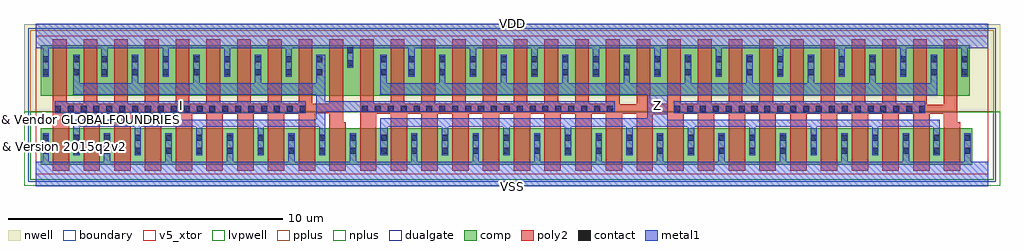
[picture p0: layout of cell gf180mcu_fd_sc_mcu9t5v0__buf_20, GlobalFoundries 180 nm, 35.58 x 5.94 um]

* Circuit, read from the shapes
.subckt gf180mcu_fd_sc_mcu9t5v0__buf_20 I VDD VSS Z
XM1 n1 I VSS VSUBS nfet_05v0 w=1.32u l=0.6u m=10
XM2 Z n1 VSS VSUBS nfet_05v0 w=1.32u l=0.6u m=20
XM3 n1 I VDD n2 pfet_05v0 w=1.83u l=0.5u m=10
XM4 Z n1 VDD n2 pfet_05v0 w=1.83u l=0.5u m=20
.ends

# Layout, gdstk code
import gdstk
lib = gdstk.Library(unit=1e-6, precision=1e-09)
def R(c, l, rs):  # rectangles x0, y0, x1, y1
    for r in rs: c.add(gdstk.rectangle(r[:2], r[2:], *l))
def A(c, l, x, y, w, h, nx, ny, dx, dy):  # array of equal rectangles
    R(c, l, [(x+i*dx, y+j*dy, x+i*dx+w, y+j*dy+h) for i in range(nx) for j in range(ny)])
def P(c, l, *ps):  # polygons
    for p in ps: c.add(gdstk.Polygon(p, *l))
boundary = (0, 0)
nwell = (21, 0)
comp = (22, 0)
poly2 = (30, 0)
pplus = (31, 0)
nplus = (32, 0)
contact = (33, 0)
metal1 = (34, 0)
dualgate = (55, 0)
v5_xtor = (112, 1)
lvpwell = (204, 0)

gf180mcu_fd_sc_mcu9t5v0_ = lib.new_cell('gf180mcu_fd_sc_mcu9t5v0__buf_20')
R(gf180mcu_fd_sc_mcu9t5v0_, boundary, [(0,0,34.72,5.04)])
R(gf180mcu_fd_sc_mcu9t5v0_, nwell, [(-0.43,2.265,35.15,5.47)])
R(gf180mcu_fd_sc_mcu9t5v0_, comp, [(0.18,0.345,34.14,1.665), (0.18,2.865,34.04,4.695)])
P(gf180mcu_fd_sc_mcu9t5v0_, poly2, [(0.62,0.125),(0.62,4.915),(1.12,4.915),(1.12,2.565),(1.74,2.565),(1.74,4.915),(2.24,4.915),(2.24,2.565),(2.86,2.565),(2.86,4.915),(3.36,4.915),(3.36,2.565),(3.98,2.565),(3.98,4.915),(4.48,4.915),(4.48,2.565),(5.1,2.565),(5.1,4.915),(5.6,4.915),(5.6,2.565),(6.22,2.565),(6.22,4.915),(6.72,4.915),(6.72,2.565),(7.34,2.565),(7.34,4.915),(7.84,4.915),(7.84,2.565),(8.46,2.565),(8.46,4.915),(8.96,4.915),(8.96,2.565),(9.58,2.565),(9.58,4.915),(10.08,4.915),(10.08,2.565),(10.7,2.565),(10.7,4.915),(11.2,4.915),(11.2,1.885),(11.3,1.885),(11.3,0.125),(10.7,0.125),(10.7,2.215),(10.18,2.215),(10.18,0.125),(9.58,0.125),(9.58,2.205),(9.06,2.205),(9.06,0.125),(8.46,0.125),(8.46,2.205),(7.94,2.205),(7.94,0.125),(7.34,0.125),(7.34,2.205),(6.82,2.205),(6.82,0.125),(6.22,0.125),(6.22,2.205),(5.7,2.205),(5.7,0.125),(5.1,0.125),(5.1,2.205),(4.58,2.205),(4.58,0.125),(3.98,0.125),(3.98,2.205),(3.46,2.205),(3.46,0.125),(2.86,0.125),(2.86,2.205),(2.34,2.205),(2.34,0.125),(1.74,0.125),(1.74,2.205),(1.22,2.205),(1.22,0.125)],
  [(11.82,0.125),(11.82,4.915),(12.32,4.915),(12.32,2.565),(12.94,2.565),(12.94,4.915),(13.44,4.915),(13.44,2.565),(14.06,2.565),(14.06,4.915),(14.56,4.915),(14.56,2.565),(15.18,2.565),(15.18,4.915),(15.68,4.915),(15.68,2.565),(16.3,2.565),(16.3,4.915),(16.8,4.915),(16.8,2.565),(17.42,2.565),(17.42,4.915),(17.92,4.915),(17.92,2.565),(18.54,2.565),(18.54,4.915),(19.04,4.915),(19.04,2.565),(19.66,2.565),(19.66,4.915),(20.16,4.915),(20.16,2.565),(20.78,2.565),(20.78,4.915),(21.28,4.915),(21.28,2.55),(21.9,2.55),(21.9,4.915),(22.4,4.915),(22.4,2.565),(23.02,2.565),(23.02,4.915),(23.52,4.915),(23.52,2.565),(24.14,2.565),(24.14,4.915),(24.64,4.915),(24.64,2.565),(25.26,2.565),(25.26,4.915),(25.76,4.915),(25.76,2.565),(26.38,2.565),(26.38,4.915),(26.88,4.915),(26.88,2.565),(27.5,2.565),(27.5,4.915),(28,4.915),(28,2.565),(28.62,2.565),(28.62,4.915),(29.12,4.915),(29.12,2.565),(29.74,2.565),(29.74,4.915),(30.24,4.915),(30.24,2.565),(30.86,2.565),(30.86,4.915),(31.36,4.915),(31.36,2.565),(31.98,2.565),(31.98,4.915),(32.48,4.915),(32.48,2.535),(33.1,2.535),(33.1,4.915),(33.6,4.915),(33.6,1.885),(33.7,1.885),(33.7,0.125),(33.1,0.125),(33.1,2.2),(32.58,2.2),(32.58,0.125),(31.98,0.125),(31.98,2.205),(31.46,2.205),(31.46,0.125),(30.86,0.125),(30.86,2.205),(30.34,2.205),(30.34,0.125),(29.74,0.125),(29.74,2.205),(29.22,2.205),(29.22,0.125),(28.62,0.125),(28.62,2.205),(28.1,2.205),(28.1,0.125),(27.5,0.125),(27.5,2.205),(26.98,2.205),(26.98,0.125),(26.38,0.125),(26.38,2.205),(25.86,2.205),(25.86,0.125),(25.26,0.125),(25.26,2.205),(24.74,2.205),(24.74,0.125),(24.14,0.125),(24.14,2.205),(23.62,2.205),(23.62,0.125),(23.02,0.125),(23.02,2.175),(22.5,2.175),(22.5,0.125),(21.9,0.125),(21.9,2.195),(21.38,2.195),(21.38,0.125),(20.78,0.125),(20.78,2.205),(20.26,2.205),(20.26,0.125),(19.66,0.125),(19.66,2.205),(19.14,2.205),(19.14,0.125),(18.54,0.125),(18.54,2.205),(18.02,2.205),(18.02,0.125),(17.42,0.125),(17.42,2.205),(16.9,2.205),(16.9,0.125),(16.3,0.125),(16.3,2.205),(15.78,2.205),(15.78,0.125),(15.18,0.125),(15.18,2.205),(14.66,2.205),(14.66,0.125),(14.06,0.125),(14.06,2.205),(13.54,2.205),(13.54,0.125),(12.94,0.125),(12.94,2.205),(12.42,2.205),(12.42,0.125)])
R(gf180mcu_fd_sc_mcu9t5v0_, pplus, [(-0.2,2.265,34.92,5.24)])
R(gf180mcu_fd_sc_mcu9t5v0_, nplus, [(-0.2,-0.2,34.92,2.265)])
A(gf180mcu_fd_sc_mcu9t5v0_, contact, 0.25, 0.74, 0.22, 0.22, 31, 2, 1.12, 0.47)
A(gf180mcu_fd_sc_mcu9t5v0_, contact, 0.69, 2.275, 0.22, 0.22, 20, 1, 0.47, 0)
A(gf180mcu_fd_sc_mcu9t5v0_, contact, 11.89, 2.275, 0.22, 0.22, 20, 1, 0.47, 0)
A(gf180mcu_fd_sc_mcu9t5v0_, contact, 23.27, 2.275, 0.22, 0.22, 20, 1, 0.47, 0)
A(gf180mcu_fd_sc_mcu9t5v0_, contact, 2.39, 3.61, 0.22, 0.22, 8, 2, 1.12, 0.47)
A(gf180mcu_fd_sc_mcu9t5v0_, contact, 13.59, 3.61, 0.22, 0.22, 19, 2, 1.12, 0.47)
R(gf180mcu_fd_sc_mcu9t5v0_, contact, [(0.25,3.61,0.47,3.83), (1.37,3.61,1.59,3.83), (12.57,3.61,12.79,3.83), (11.35,3.935,11.57,4.155), (0.25,4.08,0.47,4.3), (1.37,4.08,1.59,4.3), (12.57,4.08,12.79,4.3), (11.35,4.405,11.57,4.625)])
R(gf180mcu_fd_sc_mcu9t5v0_, metal1, [(0.685,2.215,9.845,2.65), (23.265,2.215,32.425,2.65)])
P(gf180mcu_fd_sc_mcu9t5v0_, metal1, [(1.365,0.68),(1.365,1.975),(10.225,1.975),(10.225,2.9),(1.365,2.9),(1.365,4.36),(1.595,4.36),(1.595,3.32),(3.505,3.32),(3.505,4.36),(3.735,4.36),(3.735,3.32),(5.745,3.32),(5.745,4.36),(5.975,4.36),(5.975,3.32),(7.985,3.32),(7.985,4.36),(8.215,4.36),(8.215,3.32),(10.225,3.32),(10.225,4.36),(10.555,4.36),(10.555,2.65),(21.1,2.65),(21.1,2.27),(10.555,2.27),(10.555,0.68),(10.325,0.68),(10.325,1.72),(8.315,1.72),(8.315,0.68),(8.085,0.68),(8.085,1.72),(6.075,1.72),(6.075,0.68),(5.845,0.68),(5.845,1.72),(3.835,1.72),(3.835,0.68),(3.605,0.68),(3.605,1.72),(1.595,1.72),(1.595,0.68)],
  [(12.565,0.68),(12.565,2.03),(22.285,2.03),(22.285,2.885),(12.565,2.885),(12.565,4.36),(12.795,4.36),(12.795,3.32),(14.705,3.32),(14.705,4.36),(14.935,4.36),(14.935,3.32),(16.945,3.32),(16.945,4.36),(17.175,4.36),(17.175,3.32),(19.185,3.32),(19.185,4.36),(19.415,4.36),(19.415,3.32),(21.425,3.32),(21.425,4.36),(21.655,4.36),(21.655,3.32),(23.665,3.32),(23.665,4.36),(23.895,4.36),(23.895,3.32),(25.905,3.32),(25.905,4.36),(26.135,4.36),(26.135,3.32),(28.145,3.32),(28.145,4.36),(28.375,4.36),(28.375,3.32),(30.385,3.32),(30.385,4.36),(30.615,4.36),(30.615,3.32),(32.625,3.32),(32.625,4.36),(32.855,4.36),(32.855,2.88),(23.035,2.88),(23.035,1.98),(32.955,1.98),(32.955,0.68),(32.725,0.68),(32.725,1.72),(30.715,1.72),(30.715,0.68),(30.485,0.68),(30.485,1.72),(28.475,1.72),(28.475,0.68),(28.245,0.68),(28.245,1.72),(26.235,1.72),(26.235,0.68),(26.005,0.68),(26.005,1.72),(23.995,1.72),(23.995,0.68),(23.765,0.68),(23.765,1.72),(21.755,1.72),(21.755,0.68),(21.525,0.68),(21.525,1.72),(19.515,1.72),(19.515,0.68),(19.285,0.68),(19.285,1.72),(17.275,1.72),(17.275,0.68),(17.045,0.68),(17.045,1.72),(15.035,1.72),(15.035,0.68),(14.805,0.68),(14.805,1.72),(12.825,1.72),(12.825,0.68)],
  [(0,-0.45),(0,0.45),(0.245,0.45),(0.245,1.49),(0.475,1.49),(0.475,0.45),(2.485,0.45),(2.485,1.49),(2.715,1.49),(2.715,0.45),(4.725,0.45),(4.725,1.49),(4.955,1.49),(4.955,0.45),(6.965,0.45),(6.965,1.49),(7.195,1.49),(7.195,0.45),(9.205,0.45),(9.205,1.49),(9.435,1.49),(9.435,0.45),(11.445,0.45),(11.445,1.49),(11.675,1.49),(11.675,0.45),(13.685,0.45),(13.685,1.49),(13.915,1.49),(13.915,0.45),(15.925,0.45),(15.925,1.49),(16.155,1.49),(16.155,0.45),(18.165,0.45),(18.165,1.49),(18.395,1.49),(18.395,0.45),(20.405,0.45),(20.405,1.49),(20.635,1.49),(20.635,0.45),(22.645,0.45),(22.645,1.49),(22.875,1.49),(22.875,0.45),(24.885,0.45),(24.885,1.49),(25.115,1.49),(25.115,0.45),(27.125,0.45),(27.125,1.49),(27.355,1.49),(27.355,0.45),(29.365,0.45),(29.365,1.49),(29.595,1.49),(29.595,0.45),(31.605,0.45),(31.605,1.49),(31.835,1.49),(31.835,0.45),(33.845,0.45),(33.845,1.49),(34.075,1.49),(34.075,0.45),(34.72,0.45),(34.72,-0.45)],
  [(0.245,3.55),(0.245,4.59),(0,4.59),(0,5.49),(34.72,5.49),(34.72,4.59),(33.975,4.59),(33.975,3.55),(33.745,3.55),(33.745,4.59),(31.735,4.59),(31.735,3.55),(31.505,3.55),(31.505,4.59),(29.495,4.59),(29.495,3.55),(29.265,3.55),(29.265,4.59),(27.255,4.59),(27.255,3.55),(27.025,3.55),(27.025,4.59),(25.015,4.59),(25.015,3.55),(24.785,3.55),(24.785,4.59),(22.775,4.59),(22.775,3.55),(22.545,3.55),(22.545,4.59),(20.535,4.59),(20.535,3.55),(20.305,3.55),(20.305,4.59),(18.295,4.59),(18.295,3.55),(18.065,3.55),(18.065,4.59),(16.055,4.59),(16.055,3.55),(15.825,3.55),(15.825,4.59),(13.815,4.59),(13.815,3.55),(13.585,3.55),(13.585,4.59),(11.575,4.59),(11.575,3.875),(11.345,3.875),(11.345,4.59),(9.335,4.59),(9.335,3.55),(9.105,3.55),(9.105,4.59),(7.095,4.59),(7.095,3.55),(6.865,3.55),(6.865,4.59),(4.855,4.59),(4.855,3.55),(4.625,3.55),(4.625,4.59),(2.615,4.59),(2.615,3.55),(2.385,3.55),(2.385,4.59),(0.475,4.59),(0.475,3.55)])
R(gf180mcu_fd_sc_mcu9t5v0_, dualgate, [(-0.28,-0.28,35,5.32)])
R(gf180mcu_fd_sc_mcu9t5v0_, v5_xtor, [(0,0,34.72,5.04)])
R(gf180mcu_fd_sc_mcu9t5v0_, lvpwell, [(-0.43,-0.43,35.15,2.265)])
gf180mcu_fd_sc_mcu9t5v0_.add(gdstk.Label('I', (5.32,2.52), layer=34, texttype=10))
gf180mcu_fd_sc_mcu9t5v0_.add(gdstk.Label('VDD', (17.36,5.49), layer=34, texttype=10))
gf180mcu_fd_sc_mcu9t5v0_.add(gdstk.Label('VSS', (17.36,-0.45), layer=34, texttype=10))
gf180mcu_fd_sc_mcu9t5v0_.add(gdstk.Label('Z', (22.68,2.52), layer=34, texttype=10))
gf180mcu_fd_sc_mcu9t5v0_.add(gdstk.Label('& Vendor GLOBALFOUNDRIES', (0,2), layer=63, texttype=63))
gf180mcu_fd_sc_mcu9t5v0_.add(gdstk.Label('& Product GF018hv5v_green_sc9', (0,1.5), layer=63, texttype=63))
gf180mcu_fd_sc_mcu9t5v0_.add(gdstk.Label('& Version 2015q2v2', (0,1), layer=63, texttype=63))
gf180mcu_fd_sc_mcu9t5v0_.add(gdstk.Label('& Metric 1.00', (0,0.5), layer=63, texttype=63))

lib.write_gds('gf180mcu_fd_sc_mcu9t5v0__buf_20.gds')
